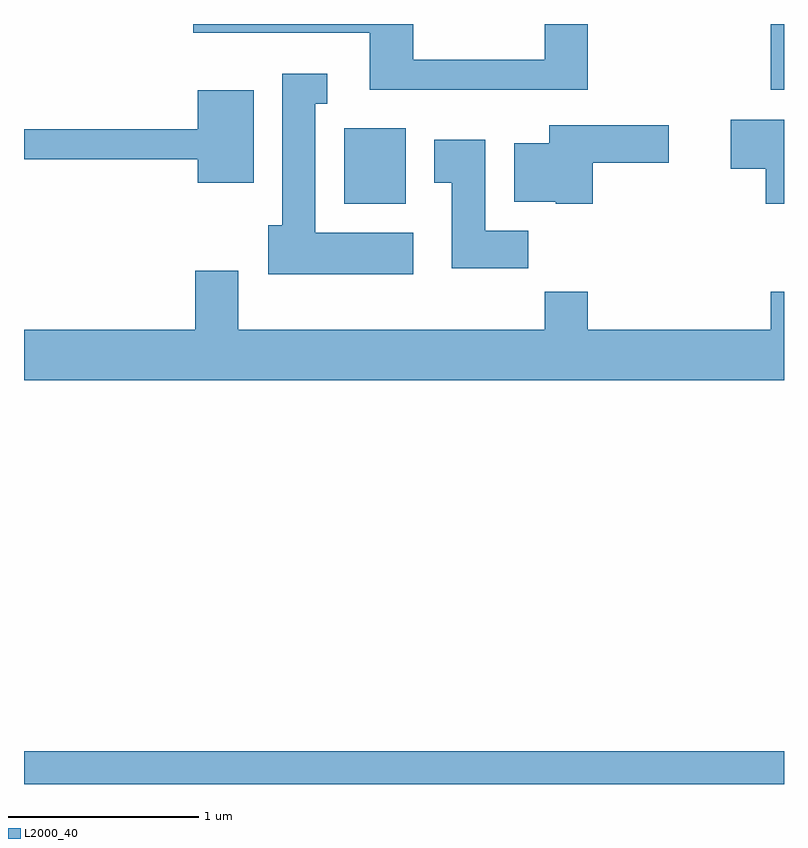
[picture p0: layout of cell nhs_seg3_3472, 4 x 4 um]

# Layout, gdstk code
import gdstk
lib = gdstk.Library(unit=1e-6, precision=1e-09)
def R(c, l, rs):  # rectangles x0, y0, x1, y1
    for r in rs: c.add(gdstk.rectangle(r[:2], r[2:], *l))
def P(c, l, *ps):  # polygons
    for p in ps: c.add(gdstk.Polygon(p, *l))
L2000_40 = (2000, 40)

nhs_seg3_3472 = lib.new_cell('nhs_seg3_3472')
R(nhs_seg3_3472, L2000_40, [(287.611,1123.892,291.611,1124.064), (289.296,1126.946,289.619,1127.344), (291.541,1127.546,291.611,1127.892)])
P(nhs_seg3_3472, L2000_40, [(290.579,1127.892),(290.351,1127.892),(290.351,1127.704),(289.659,1127.704),(289.659,1127.892),(288.503,1127.892),(288.503,1127.846),(289.431,1127.846),(289.431,1127.546),(290.579,1127.546)],
  [(289.659,1126.794),(289.144,1126.794),(289.144,1127.471),(289.208,1127.471),(289.208,1127.629),(288.971,1127.629),(288.971,1126.834),(288.896,1126.834),(288.896,1126.576),(289.659,1126.576)],
  [(288.819,1127.544),(288.526,1127.544),(288.526,1127.339),(287.611,1127.339),(287.611,1127.181),(288.526,1127.181),(288.526,1127.056),(288.819,1127.056)],
  [(291.611,1127.389),(291.331,1127.389),(291.331,1127.131),(291.516,1127.131),(291.516,1126.946),(291.611,1126.946)],
  [(290.604,1127.161),(291.004,1127.161),(291.004,1127.359),(290.376,1127.359),(290.376,1127.264),(290.191,1127.264),(290.191,1126.956),(290.41,1126.956),(290.41,1126.946),(290.604,1126.946)],
  [(290.264,1126.804),(290.039,1126.804),(290.039,1127.284),(289.771,1127.284),(289.771,1127.056),(289.861,1127.056),(289.861,1126.606),(290.264,1126.606)],
  [(291.611,1126.484),(291.541,1126.484),(291.541,1126.284),(290.579,1126.284),(290.579,1126.484),(290.351,1126.484),(290.351,1126.284),(288.739,1126.284),(288.739,1126.594),(288.511,1126.594),(288.511,1126.284),(287.611,1126.284),(287.611,1126.016),(291.611,1126.016)])

lib.write_gds('nhs_seg3_3472.gds')
